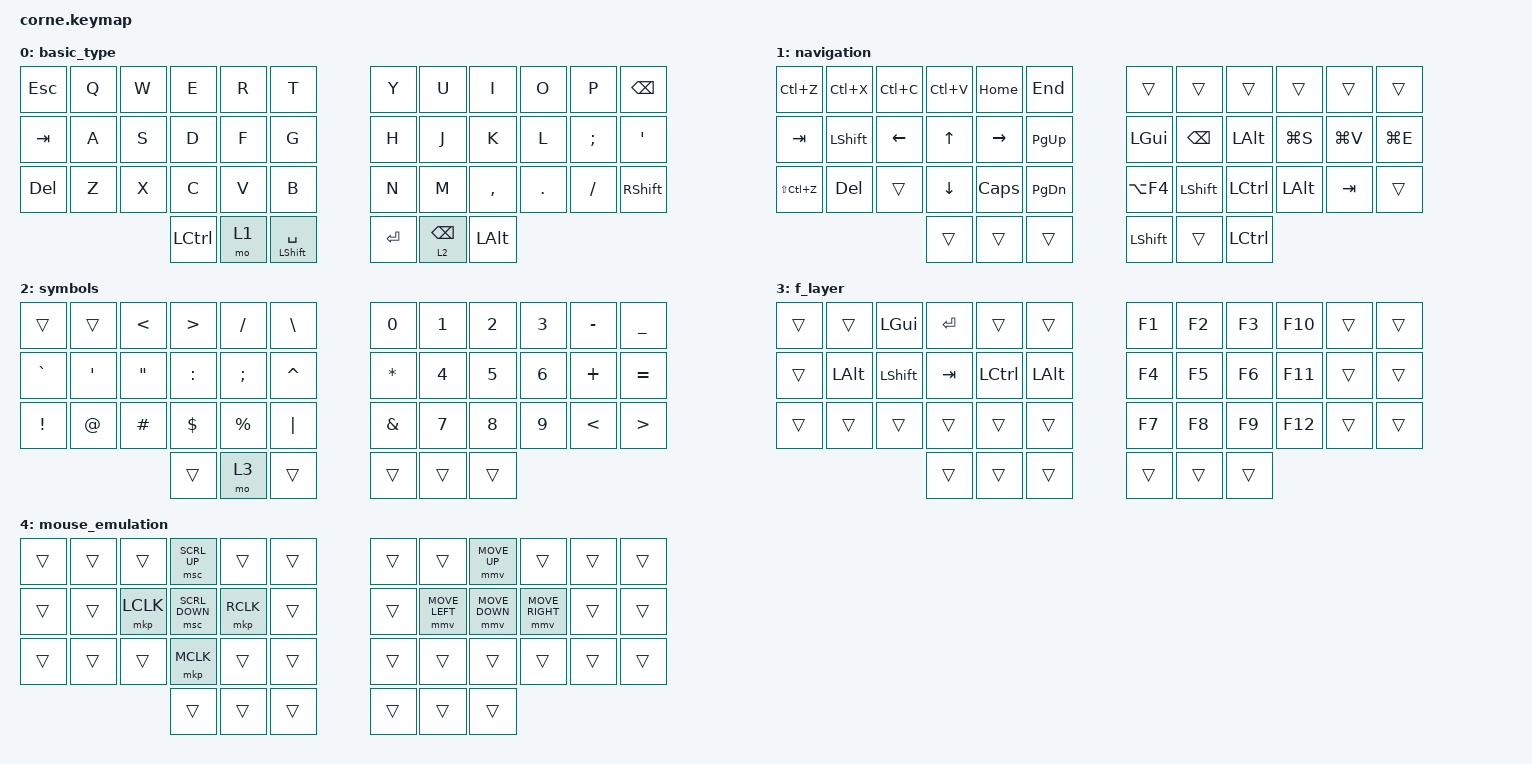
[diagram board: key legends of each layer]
/*
 * Copyright (c) 2020 The ZMK Contributors
 *
 * SPDX-License-Identifier: MIT
 */

#include <behaviors.dtsi>
#include <dt-bindings/zmk/bt.h>
#include <dt-bindings/zmk/keys.h>
#include <dt-bindings/zmk/pointing.h>

/ {
    behaviors {
        tp: tap_preferred {
            compatible = "zmk,behavior-hold-tap";
            label = "TAP_PREFERRED";
            #binding-cells = <2>;
            tapping-term-ms = <150>;
            quick-tap-ms = <0>;
            flavor = "tap-preferred";
            bindings = <&kp>, <&kp>;
        };
    };

    combos {
        compatible = "zmk,combos";

        Delete {
            bindings = <&kp DELETE>;
            key-positions = <20 21 22>;
        };

        backslash {
            bindings = <&kp BACKSLASH>;
            key-positions = <33 34>;
        };

        Left_Parenthesis {
            bindings = <&kp LEFT_PARENTHESIS>;
            key-positions = <40 7>;
        };

        Right_parentesis {
            bindings = <&kp RIGHT_PARENTHESIS>;
            key-positions = <40 8>;
        };

        Left_Square_Bracket {
            bindings = <&kp LEFT_BRACKET>;
            key-positions = <40 19>;
        };

        Right_square_bracket {
            bindings = <&kp RIGHT_BRACKET>;
            key-positions = <40 20>;
        };

        Left_curly_bracket {
            bindings = <&kp LEFT_BRACE>;
            key-positions = <40 31>;
        };

        Right_curly_bracket {
            bindings = <&kp RIGHT_BRACE>;
            key-positions = <40 32>;
        };

        Question_mark {
            bindings = <&kp QUESTION>;
            key-positions = <19 20>;
        };

        Exclamation_mark {
            bindings = <&kp EXCLAMATION>;
            key-positions = <7 8>;
        };

        Underscore {
            bindings = <&kp UNDERSCORE>;
            key-positions = <31 32>;
        };

        Dash {
            bindings = <&kp MINUS>;
            key-positions = <20 21>;
        };

        backspace {
            bindings = <&kp BACKSPACE>;
            key-positions = <18 19>;
        };

        mouse_layer {
            bindings = <&mo 4>;
            key-positions = <37 29>;
        };

        forward_slash {
            bindings = <&kp SLASH>;
            key-positions = <37 5>;
        };

        back_slash {
            bindings = <&kp BACKSLASH>;
            key-positions = <37 4>;
        };

        SwitchDevice0 {
            bindings = <&bt BT_SEL 0>;
            key-positions = <36 24>;
        };

        SwitchDevice1 {
            bindings = <&bt BT_SEL 1>;
            key-positions = <12 36>;
        };

        BluetoothClear {
            bindings = <&bt BT_CLR_ALL>;
            key-positions = <24 36 41 35>;
        };
    };

    keymap {
        compatible = "zmk,keymap";

        basic_type {
            // -----------------------------------------------------------------------------------------
            // | TAB  |  Q  |  W  |  E  |  R  |    T    |   |  Y  |  U   |  I  |  O  |  P  | ESC |
            // | CTRL |  A  |  S  |  D  |  F  |    G    |   |  H  |  J   |  K  |  L  |  ;  |  LWR/'   |
            // | SHFT |  Z  |  X  |  C  |  V  |    B    |   |  N  |  M   |  ,  |  .  |  /  | SHFT |
            //                    | GUI | LWR | ALT/ENT |   | HYPER/SPC | BKSP  | RSE |

            bindings = <
&kp ESCAPE  &kp Q  &kp W  &kp E      &kp R  &kp T              &kp Y      &kp U            &kp I         &kp O    &kp P     &kp BSPC
&kp TAB     &kp A  &kp S  &kp D      &kp F  &kp G              &kp H      &kp J            &kp K         &kp L    &kp SEMI  &kp SINGLE_QUOTE
&kp DELETE  &kp Z  &kp X  &kp C      &kp V  &kp B              &kp N      &kp M            &kp COMMA     &kp DOT  &kp FSLH  &kp RSHFT
                          &kp LCTRL  &mo 1  &mt LSHFT SPACE    &kp ENTER  &lt 2 BACKSPACE  &kp LEFT_ALT
            >;
        };

        navigation {
            // -----------------------------------------------------------------------------------------
            // |       |  F1  |  F2  |  F3  |  F4  |  F5 |            |  F6  |  F7  |  F8  |  F9  |  F10  |   |
            // |       | Prev | Next | Vol - | Vol + | Play/Pause |   |      | LFT | DWN |  UP | RGT |     |     |
            // | BTCLR | BT1 | BT2 | BT3 | BT4 | BT5 |   |            |     |     |     |     |     |     |
            //                    |     |     |    |                  |     |     |     |

            bindings = <
&kp LC(Z)      &kp LC(X)   &kp LC(C)  &kp LC(V)     &kp HOME         &kp END          &trans        &trans          &trans            &trans        &trans     &trans
&kp TAB        &kp LSHFT   &kp LEFT   &kp UP_ARROW  &kp RIGHT_ARROW  &kp PAGE_UP      &kp LEFT_GUI  &kp BSPC        &kp LALT          &kp LG(S)     &kp LG(V)  &kp LG(E)
&kp LS(LC(Z))  &kp DELETE  &trans     &kp DOWN      &kp CAPSLOCK     &kp PAGE_DOWN    &kp LA(F4)    &kp LEFT_SHIFT  &kp LCTRL         &kp LEFT_ALT  &kp TAB    &trans
                                      &trans        &trans           &trans           &kp LSHFT     &trans          &kp LEFT_CONTROL
            >;
        };

        symbols {
            bindings = <
&trans     &trans       &kp LESS_THAN      &kp GREATER_THAN  &kp SLASH      &kp BACKSLASH    &kp N0         &kp N1  &kp N2  &kp N3  &kp MINUS      &kp UNDERSCORE
&kp GRAVE  &kp SQT      &kp DOUBLE_QUOTES  &kp COLON         &kp SEMICOLON  &kp CARET        &kp ASTERISK   &kp N4  &kp N5  &kp N6  &kp PLUS       &kp EQUAL
&kp EXCL   &kp AT_SIGN  &kp HASH           &kp DOLLAR        &kp PERCENT    &kp PIPE         &kp AMPERSAND  &kp N7  &kp N8  &kp N9  &kp LESS_THAN  &kp GREATER_THAN
                                           &trans            &mo 3          &trans           &trans         &trans  &trans
            >;
        };

        f_layer {
            bindings = <
&trans  &trans    &kp LGUI   &kp ENTER  &trans     &trans      &kp F1  &kp F2  &kp F3  &kp F10  &trans  &trans
&trans  &kp LALT  &kp LSHFT  &kp TAB    &kp LCTRL  &kp LALT    &kp F4  &kp F5  &kp F6  &kp F11  &trans  &trans
&trans  &trans    &trans     &trans     &trans     &trans      &kp F7  &kp F8  &kp F9  &kp F12  &trans  &trans
                             &trans     &trans     &trans      &trans  &trans  &trans
            >;
        };

        mouse_emulation {
            bindings = <
&trans  &trans  &trans     &msc SCRL_UP    &trans     &trans    &trans  &trans          &mmv MOVE_UP    &trans           &trans  &trans
&trans  &trans  &mkp LCLK  &msc SCRL_DOWN  &mkp RCLK  &trans    &trans  &mmv MOVE_LEFT  &mmv MOVE_DOWN  &mmv MOVE_RIGHT  &trans  &trans
&trans  &trans  &trans     &mkp MCLK       &trans     &trans    &trans  &trans          &trans          &trans           &trans  &trans
                           &trans          &trans     &trans    &trans  &trans          &trans
            >;
        };
    };
};
